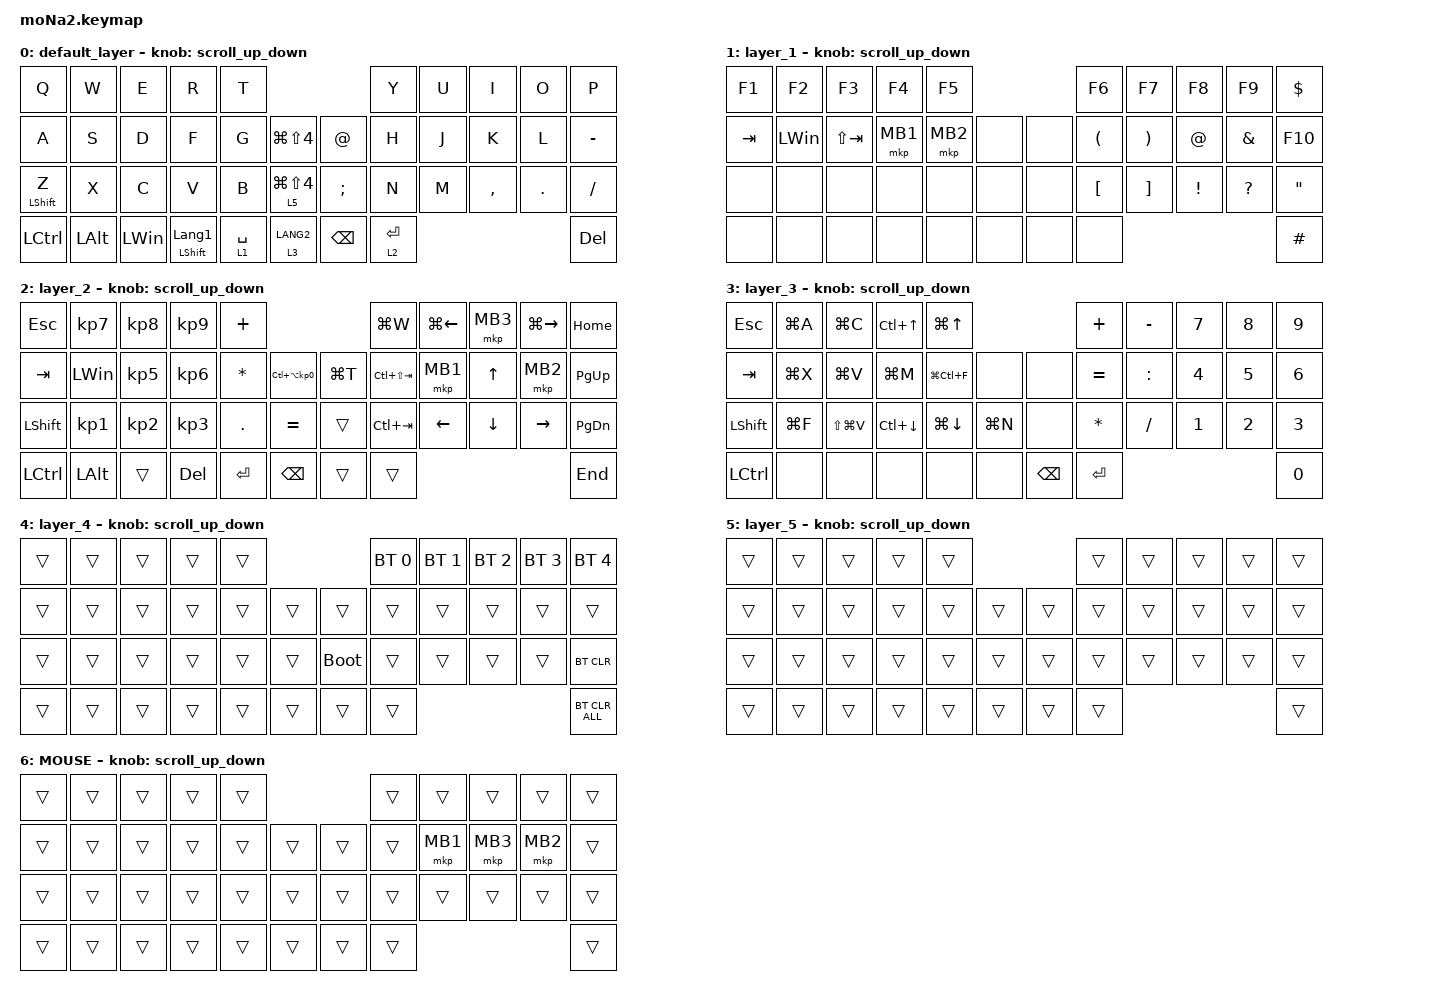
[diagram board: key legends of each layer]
#include <behaviors.dtsi>
#include <dt-bindings/zmk/bt.h>
#include <dt-bindings/zmk/keys.h>
#include <dt-bindings/zmk/pointing.h>
#include <dt-bindings/zmk/pointing.h>

#define ZMK_POINTING_DEFAULT_SCRL_VAL 100
#define MOUSE 6

&mt {
    flavor = "balanced";
    quick-tap-ms = <0>;
};

/ {
    combos { compatible = "zmk,combos"; };

    macros {
        to_layer_0: to_layer_0 {
            compatible = "zmk,behavior-macro-one-param";
            #binding-cells = <1>;
            bindings = <&to 0 &macro_param_1to1 &kp MACRO_PLACEHOLDER>;
            label = "TO_LAYER_0";
        };
    };

    behaviors {
        lt_to_layer_0: lt_to_layer_0 {
            compatible = "zmk,behavior-hold-tap";
            label = "LAYER_TAP_TO_0";
            bindings = <&mo>, <&to_layer_0>;

            #binding-cells = <2>;
            tapping-term-ms = <200>;
        };

        scroll_up_down: behavior_sensor_rotate_mouse_wheel_up_down {
            compatible = "zmk,behavior-sensor-rotate";
            #sensor-binding-cells = <0>;
            bindings = <&msc SCRL_UP>, <&msc SCRL_DOWN>;

            tap-ms = <20>;
        };
    };

    keymap {
        compatible = "zmk,keymap";

        default_layer {
            bindings = <
&kp Q             &kp W     &kp E         &kp R                      &kp T                                                 &kp Y        &kp U  &kp I      &kp O    &kp P
&kp A             &kp S     &kp D         &kp F                      &kp G        &kp LG(LS(NUMBER_4))      &kp AT_SIGN    &kp H        &kp J  &kp K      &kp L    &kp MINUS
&mt LEFT_SHIFT Z  &kp X     &kp C         &kp V                      &kp B        &lt 5 LG(LS(NUMBER_4))    &kp SEMICOLON  &kp N        &kp M  &kp COMMA  &kp DOT  &kp SLASH
&kp LCTRL         &kp LALT  &kp LEFT_WIN  &mt LEFT_SHIFT LANGUAGE_1  &lt 1 SPACE  &lt 3 LANG2               &kp BACKSPACE  &lt 2 ENTER                             &kp DEL
            >;

            sensor-bindings = <&scroll_up_down>;
        };

        layer_1 {
            bindings = <
&kp F1   &kp F2        &kp F3       &kp F4    &kp F5                    &kp F6                &kp F7                 &kp F8           &kp F9         &kp DOLLAR
&kp TAB  &kp LEFT_WIN  &kp LS(TAB)  &mkp MB1  &mkp MB2  &none    &none  &kp LEFT_PARENTHESIS  &kp RIGHT_PARENTHESIS  &kp AT_SIGN      &kp AMPERSAND  &kp F10
&none    &none         &none        &none     &none     &none    &none  &kp LEFT_BRACKET      &kp RIGHT_BRACKET      &kp EXCLAMATION  &kp QUESTION   &kp DOUBLE_QUOTES
&none    &none         &none        &none     &none     &none    &none  &none                                                                        &kp HASH
            >;

            sensor-bindings = <&scroll_up_down>;
        };

        layer_2 {
            bindings = <
&kp ESCAPE      &kp KP_NUMBER_7  &kp KP_NUMBER_8  &kp KP_NUMBER_9  &kp PLUS                                            &kp LG(W)        &kp LG(LEFT_ARROW)  &mkp MB3        &kp LG(RIGHT_ARROW)  &kp HOME
&kp TAB         &kp LEFT_WIN     &kp KP_NUMBER_5  &kp KP_NUMBER_6  &kp ASTERISK  &kp LC(LA(KP_NUMBER_0))    &kp LG(T)  &kp LC(LS(TAB))  &mkp MB1            &kp UP_ARROW    &mkp MB2             &kp PAGE_UP
&kp LEFT_SHIFT  &kp KP_NUMBER_1  &kp KP_NUMBER_2  &kp KP_NUMBER_3  &kp PERIOD    &kp EQUAL                  &trans     &kp LC(TAB)      &kp LEFT_ARROW      &kp DOWN_ARROW  &kp RIGHT_ARROW      &kp PAGE_DOWN
&kp LCTRL       &kp LEFT_ALT     &trans           &kp DELETE       &kp ENTER     &kp BACKSPACE              &trans     &trans                                                                    &kp END
            >;

            sensor-bindings = <&scroll_up_down>;
        };

        layer_3 {
            bindings = <
&kp ESCAPE      &kp LG(A)  &kp LG(C)      &kp LC(UP_ARROW)    &kp LG(UP_ARROW)                                &kp PLUS      &kp MINUS  &kp N7        &kp N8        &kp NUMBER_9
&kp TAB         &kp LG(X)  &kp LG(V)      &kp LG(M)           &kp LG(LC(F))       &none        &none          &kp EQUAL     &kp COLON  &kp NUMBER_4  &kp NUMBER_5  &kp NUMBER_6
&kp LEFT_SHIFT  &kp LG(F)  &kp LS(LG(V))  &kp LC(DOWN_ARROW)  &kp LG(DOWN_ARROW)  &kp LG(N)    &none          &kp ASTERISK  &kp SLASH  &kp NUMBER_1  &kp NUMBER_2  &kp NUMBER_3
&kp LCTRL       &none      &none          &none               &none               &none        &kp BACKSPACE  &kp ENTER                                            &kp NUMBER_0
            >;

            sensor-bindings = <&scroll_up_down>;
        };

        layer_4 {
            bindings = <
&trans  &trans  &trans  &trans  &trans                         &bt BT_SEL 0  &bt BT_SEL 1  &bt BT_SEL 2  &bt BT_SEL 3  &bt BT_SEL 4
&trans  &trans  &trans  &trans  &trans  &trans    &trans       &trans        &trans        &trans        &trans        &trans
&trans  &trans  &trans  &trans  &trans  &trans    &bootloader  &trans        &trans        &trans        &trans        &bt BT_CLR
&trans  &trans  &trans  &trans  &trans  &trans    &trans       &trans                                                  &bt BT_CLR_ALL
            >;

            sensor-bindings = <&scroll_up_down>;
        };

        layer_5 {
            bindings = <
&trans  &trans  &trans  &trans  &trans                    &trans  &trans  &trans  &trans  &trans
&trans  &trans  &trans  &trans  &trans  &trans    &trans  &trans  &trans  &trans  &trans  &trans
&trans  &trans  &trans  &trans  &trans  &trans    &trans  &trans  &trans  &trans  &trans  &trans
&trans  &trans  &trans  &trans  &trans  &trans    &trans  &trans                          &trans
            >;

            sensor-bindings = <&scroll_up_down>;
        };

        MOUSE {
            bindings = <
&trans  &trans  &trans  &trans  &trans                    &trans  &trans    &trans    &trans    &trans
&trans  &trans  &trans  &trans  &trans  &trans    &trans  &trans  &mkp MB1  &mkp MB3  &mkp MB2  &trans
&trans  &trans  &trans  &trans  &trans  &trans    &trans  &trans  &trans    &trans    &trans    &trans
&trans  &trans  &trans  &trans  &trans  &trans    &trans  &trans                                &trans
            >;

            sensor-bindings = <&scroll_up_down>;
        };
    };
};
